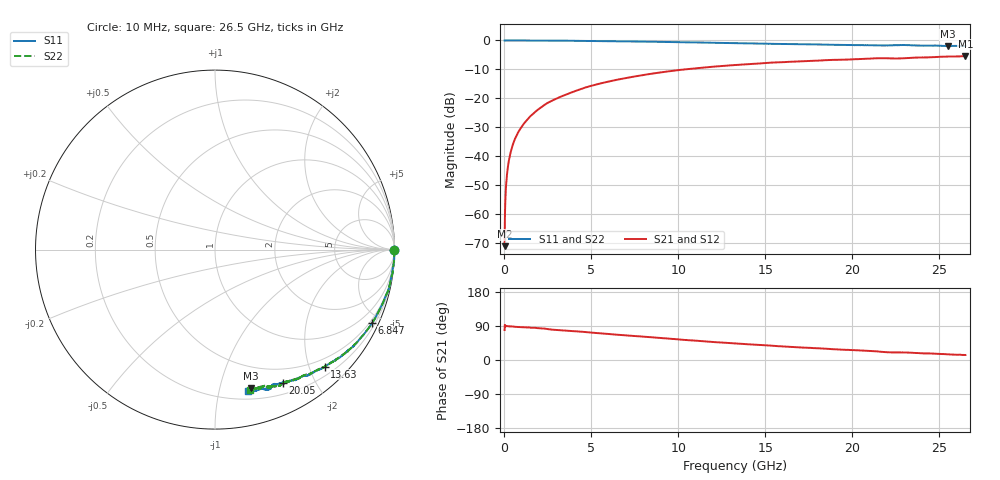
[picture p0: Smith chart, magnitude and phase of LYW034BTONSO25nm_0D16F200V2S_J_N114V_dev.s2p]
!Keysight Technologies,N5222B,MY61253708,A.15.00.15
!Date: Wednesday, June 19, 2024 09:46:36
!Correction: S11(C  2-Port  )
!S21(C  2-Port  )
!S12(C  2-Port  )
!S22(C  2-Port  )
!S2P File: Measurements: S11, S21, S12, S22:
# Hz S  RI  R 50
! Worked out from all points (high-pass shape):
!   2651 points, 10 MHz to 26.5 GHz, reference 50 ohm
!   highest |S21| = -5.39 dB at 26.5 GHz (marker M1); lowest = -71.0 dB at 10 MHz (marker M2)
!   |S21| within 3 dB of the highest: 13.45 GHz to end of sweep
!   lowest |S11| = -2.0 dB at 25.5 GHz (marker M3), VSWR 8.92, Z = 14.7 - j62.6 ohm
!   |S11| at or under -10 dB: nowhere
!   |S22| runs from -1.9 to 0.0 dB; largest |S21 - S12| = 0.0065
!   S11 on the Smith chart (normalised r, x): 10 MHz: open; 6.847 GHz: 0.37, -4.46; 13.63 GHz: 0.35, -2.26; 20.05 GHz: 0.32, -1.58; 26.5 GHz: 0.27, -1.22
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1e7  0.9987 -0.00251  5.32e-05 0.000276  1.12e-05 0.000194  0.9985 -0.00145
7.997358e7  0.9999 -0.00567  4.71e-05 0.00263  4.26e-05 0.00265  0.9994 -0.00533
1.499472e8  1 -0.0108  6.52e-05 0.00496  4.17e-05 0.00498  0.9995 -0.0103
1.899321e8  1 -0.0128  9.14e-05 0.00625  7.66e-05 0.00632  0.9998 -0.0121
2.399132e8  0.9996 -0.0166  0.000142 0.00791  0.000143 0.008  0.9992 -0.0159
3.398755e8  0.9995 -0.0229  0.000265 0.0112  0.000235 0.0113  0.9994 -0.0222
4.598302e8  0.9989 -0.0312  0.000435 0.0152  0.000466 0.0152  0.9988 -0.0305
6.097736e8  0.9989 -0.0407  0.000835 0.0201  0.000829 0.0203  0.9988 -0.0405
7.997019e8  0.9982 -0.0535  0.00139 0.0262  0.00136 0.0264  0.9975 -0.0528
1.43946e9  0.9907 -0.0968  0.00333 0.0474  0.00347 0.0476  0.9931 -0.0939
2.319128e9  0.9821 -0.1508  0.00976 0.0772  0.01 0.0777  0.9832 -0.1518
3.138819e9  0.9716 -0.203  0.0203 0.1017  0.0205 0.1024  0.9719 -0.2023
4.428332e9  0.9427 -0.2802  0.0384 0.1414  0.0388 0.1423  0.944 -0.278
6.847419e9  0.8743 -0.4099  0.0918 0.2006  0.0931 0.2013  0.8755 -0.4095
8.846664e9  0.8034 -0.5017  0.1449 0.2364  0.1465 0.2371  0.8039 -0.5008
1.3255e10  0.6277 -0.6418  0.2721 0.2607  0.2745 0.2603  0.6298 -0.6408
1.363486e10  0.6119 -0.6524  0.2823 0.26  0.2841 0.2594  0.6142 -0.6484
1.767333e10  0.456 -0.7213  0.3783 0.2329  0.3818 0.2311  0.4646 -0.7187
2.005243e10  0.3787 -0.7437  0.4249 0.2084  0.4273 0.205  0.3903 -0.7417
2.209166e10  0.3206 -0.7543  0.4609 0.1709  0.4627 0.1677  0.3129 -0.7598
2.550038e10  0.2017 -0.7725  0.51 0.1344  0.5114 0.1337  0.2207 -0.7741
2.65e10  0.1822 -0.7863  0.5233 0.1232  0.5229 0.1191  0.1942 -0.7838
